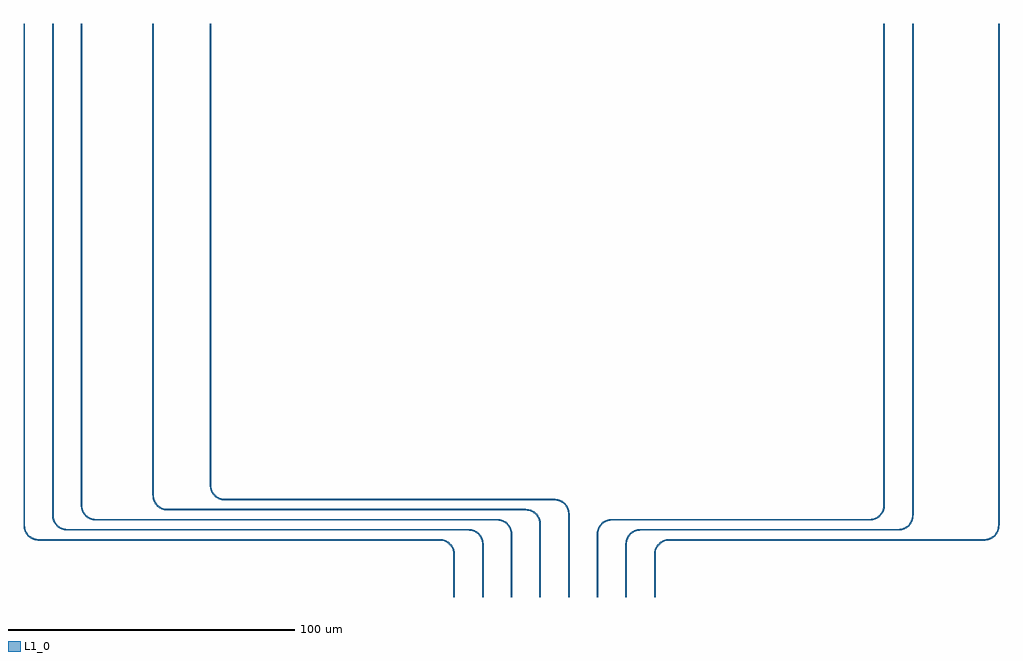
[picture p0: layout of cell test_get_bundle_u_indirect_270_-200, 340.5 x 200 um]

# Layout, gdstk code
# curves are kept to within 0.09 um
from math import pi, radians
import gdstk
lib = gdstk.Library(unit=1e-6, precision=1e-09)
def R(c, l, rs):  # rectangles x0, y0, x1, y1
    for r in rs: c.add(gdstk.rectangle(r[:2], r[2:], *l))
def P(c, l, *ps):  # polygons
    for p in ps: c.add(gdstk.Polygon(p, *l))
L1_0 = (1, 0)

bend_circular_b549158f = lib.new_cell('bend_circular_b549158f')
P(bend_circular_b549158f, L1_0, [(0,-0.25),(1.092,-0.135),(2.135,0.204),(3.086,0.753),(3.712,1.288),(4.247,1.914),(4.796,2.865),(5.135,3.908),(5.25,5),(4.75,5),(4.646,4.012),(4.339,3.068),(3.984,2.413),(3.359,1.641),(2.587,1.016),(1.932,0.661),(0.988,0.354),(0,0.25)])

straight_bda728ea = lib.new_cell('straight_bda728ea')
R(straight_bda728ea, L1_0, [(0,-0.25,175,0.25)])

straight_aea9f045 = lib.new_cell('straight_aea9f045')
R(straight_aea9f045, L1_0, [(0,-0.25,140,0.25)])

straight_300acbf5 = lib.new_cell('straight_300acbf5')
R(straight_300acbf5, L1_0, [(0,-0.25,15,0.25)])

straight_fb2ee64b = lib.new_cell('straight_fb2ee64b')
R(straight_fb2ee64b, L1_0, [(0,-0.25,171.5,0.25)])

straight_48f0a077 = lib.new_cell('straight_48f0a077')
R(straight_48f0a077, L1_0, [(0,-0.25,18.5,0.25)])

straight_2c9ca894 = lib.new_cell('straight_2c9ca894')
R(straight_2c9ca894, L1_0, [(0,-0.25,168,0.25)])

straight_b198cf17 = lib.new_cell('straight_b198cf17')
R(straight_b198cf17, L1_0, [(0,-0.25,22,0.25)])

straight_9c6765eb = lib.new_cell('straight_9c6765eb')
R(straight_9c6765eb, L1_0, [(0,-0.25,164.5,0.25)])

straight_330e2956 = lib.new_cell('straight_330e2956')
R(straight_330e2956, L1_0, [(0,-0.25,125,0.25)])

straight_ff723e3d = lib.new_cell('straight_ff723e3d')
R(straight_ff723e3d, L1_0, [(0,-0.25,25.5,0.25)])

straight_ad6ac877 = lib.new_cell('straight_ad6ac877')
R(straight_ad6ac877, L1_0, [(0,-0.25,161,0.25)])

straight_d01a6012 = lib.new_cell('straight_d01a6012')
R(straight_d01a6012, L1_0, [(0,-0.25,115,0.25)])

straight_f4586a41 = lib.new_cell('straight_f4586a41')
R(straight_f4586a41, L1_0, [(0,-0.25,29,0.25)])

straight_41509b86 = lib.new_cell('straight_41509b86')
R(straight_41509b86, L1_0, [(0,-0.25,90,0.25)])

straight_9f677114 = lib.new_cell('straight_9f677114')
R(straight_9f677114, L1_0, [(0,-0.25,110,0.25)])

test_get_bundle_u_indire = lib.new_cell('test_get_bundle_u_indirect_270_-200')
test_get_bundle_u_indire.add(gdstk.Reference(bend_circular_b549158f, (-100,-175), rotation=3*pi/2))
test_get_bundle_u_indire.add(gdstk.Reference(bend_circular_b549158f, (45,-180), x_reflection=True))
test_get_bundle_u_indire.add(gdstk.Reference(straight_bda728ea, (-100,0), rotation=3*pi/2))
test_get_bundle_u_indire.add(gdstk.Reference(straight_aea9f045, (-95,-180)))
test_get_bundle_u_indire.add(gdstk.Reference(straight_300acbf5, (50,-185), rotation=3*pi/2))
test_get_bundle_u_indire.add(gdstk.Reference(bend_circular_b549158f, (-90,-171.5), rotation=3*pi/2))
test_get_bundle_u_indire.add(gdstk.Reference(bend_circular_b549158f, (55,-176.5), x_reflection=True))
test_get_bundle_u_indire.add(gdstk.Reference(straight_fb2ee64b, (-90,0), rotation=3*pi/2))
test_get_bundle_u_indire.add(gdstk.Reference(straight_aea9f045, (-85,-176.5)))
test_get_bundle_u_indire.add(gdstk.Reference(straight_48f0a077, (60,-181.5), rotation=3*pi/2))
test_get_bundle_u_indire.add(gdstk.Reference(bend_circular_b549158f, (-80,-168), rotation=3*pi/2))
test_get_bundle_u_indire.add(gdstk.Reference(bend_circular_b549158f, (65,-173), x_reflection=True))
test_get_bundle_u_indire.add(gdstk.Reference(straight_2c9ca894, (-80,0), rotation=3*pi/2))
test_get_bundle_u_indire.add(gdstk.Reference(straight_aea9f045, (-75,-173)))
test_get_bundle_u_indire.add(gdstk.Reference(straight_b198cf17, (70,-178), rotation=3*pi/2))
test_get_bundle_u_indire.add(gdstk.Reference(bend_circular_b549158f, (-55,-164.5), rotation=3*pi/2))
test_get_bundle_u_indire.add(gdstk.Reference(bend_circular_b549158f, (75,-169.5), x_reflection=True))
test_get_bundle_u_indire.add(gdstk.Reference(straight_9c6765eb, (-55,0), rotation=3*pi/2))
test_get_bundle_u_indire.add(gdstk.Reference(straight_330e2956, (-50,-169.5)))
test_get_bundle_u_indire.add(gdstk.Reference(straight_ff723e3d, (80,-174.5), rotation=3*pi/2))
test_get_bundle_u_indire.add(gdstk.Reference(bend_circular_b549158f, (-35,-161), rotation=3*pi/2))
test_get_bundle_u_indire.add(gdstk.Reference(bend_circular_b549158f, (85,-166), x_reflection=True))
test_get_bundle_u_indire.add(gdstk.Reference(straight_ad6ac877, (-35,0), rotation=3*pi/2))
test_get_bundle_u_indire.add(gdstk.Reference(straight_d01a6012, (-30,-166)))
test_get_bundle_u_indire.add(gdstk.Reference(straight_f4586a41, (90,-171), rotation=3*pi/2))
test_get_bundle_u_indire.add(gdstk.Reference(bend_circular_b549158f, (200,-168), rotation=3*pi/2, x_reflection=True))
test_get_bundle_u_indire.add(gdstk.Reference(bend_circular_b549158f, (105,-173), rotation=pi))
test_get_bundle_u_indire.add(gdstk.Reference(straight_2c9ca894, (200,0), rotation=3*pi/2))
test_get_bundle_u_indire.add(gdstk.Reference(straight_41509b86, (195,-173), rotation=pi))
test_get_bundle_u_indire.add(gdstk.Reference(straight_b198cf17, (100,-178), rotation=3*pi/2))
test_get_bundle_u_indire.add(gdstk.Reference(bend_circular_b549158f, (210,-171.5), rotation=3*pi/2, x_reflection=True))
test_get_bundle_u_indire.add(gdstk.Reference(bend_circular_b549158f, (115,-176.5), rotation=pi))
test_get_bundle_u_indire.add(gdstk.Reference(straight_fb2ee64b, (210,0), rotation=3*pi/2))
test_get_bundle_u_indire.add(gdstk.Reference(straight_41509b86, (205,-176.5), rotation=pi))
test_get_bundle_u_indire.add(gdstk.Reference(straight_48f0a077, (110,-181.5), rotation=3*pi/2))
test_get_bundle_u_indire.add(gdstk.Reference(bend_circular_b549158f, (240,-175), rotation=3*pi/2, x_reflection=True))
test_get_bundle_u_indire.add(gdstk.Reference(bend_circular_b549158f, (125,-180), rotation=pi))
test_get_bundle_u_indire.add(gdstk.Reference(straight_bda728ea, (240,0), rotation=3*pi/2))
test_get_bundle_u_indire.add(gdstk.Reference(straight_9f677114, (235,-180), rotation=pi))
test_get_bundle_u_indire.add(gdstk.Reference(straight_300acbf5, (120,-185), rotation=3*pi/2))

lib.write_gds('test_get_bundle_u_indirect_270_-200.gds')
